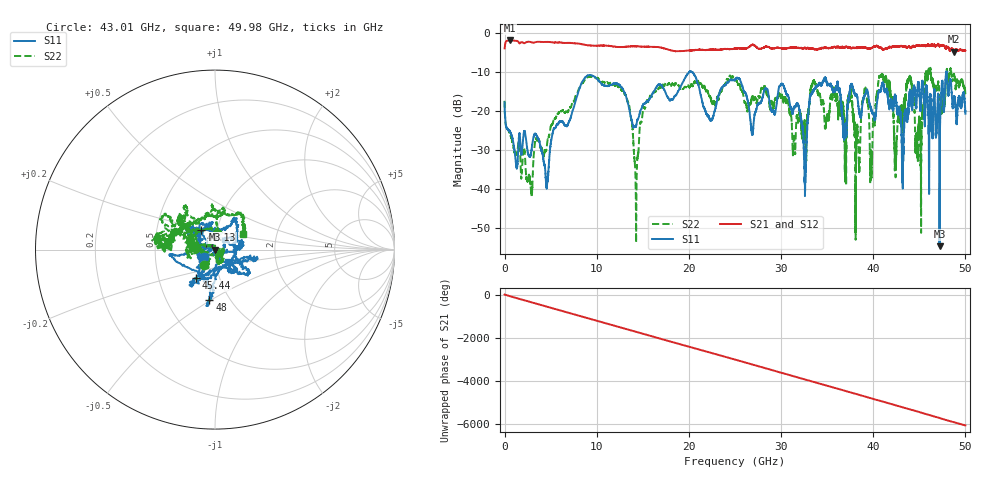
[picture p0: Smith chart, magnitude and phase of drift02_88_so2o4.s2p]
!Created with skrf (http://scikit-rf.org).
# Hz S RI R 50.0
!freq ReS11 ImS11 ReS21 ImS21 ReS12 ImS12 ReS22 ImS22
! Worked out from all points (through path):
!   10001 points, 300 kHz to 50 GHz, reference 50 ohm
!   highest |S21| = -1.99 dB at 595.3 MHz (marker M1); lowest = -4.8 dB at 48.76 GHz (marker M2)
!   group delay of S21, straight-line fit = 337 ps
!   lowest |S11| = -54.7 dB at 47.2 GHz (marker M3), VSWR 1.00, Z = 49.8 + j0.022 ohm
!   |S11| at or under -10 dB: start of sweep to 20.07 GHz; 20.24 GHz to 47.91 GHz (27.67 GHz wide, 81.2 % of centre); 47.93 GHz to end of sweep (the widest 3 of 9)
!   |S22| runs from -53.8 to -9.0 dB; largest |S21 - S12| = 0.037
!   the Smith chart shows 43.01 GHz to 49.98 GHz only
!   S11 on the Smith chart (normalised r, x): 43.01 GHz: 0.88, -0.07; 44.13 GHz: 0.84, +0.19; 45.44 GHz: 0.77, -0.25; 48 GHz: 0.81, -0.49; 49.98 GHz: 1.15, -0.16
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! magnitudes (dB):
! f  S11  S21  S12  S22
! 300 kHz  -17.9  -4.0  -4.0  -17.5
! 595.3 MHz  -25.4  -2.0  -2.0  -26.1
! 4.565 GHz  -39.9  -2.4  -2.4  -29.4
! 8.335 GHz  -13.0  -2.9  -2.9  -13.2
! 13 GHz  -15.3  -3.6  -3.6  -15.7
! 14.28 GHz  -23.8  -3.5  -3.5  -49.4
! 16.67 GHz  -13.3  -3.7  -3.7  -14.5
! 25 GHz  -12.1  -4.1  -4.1  -12.1
! 26.86 GHz  -25.8  -3.1  -3.1  -16.5
! 30.19 GHz  -13.3  -4.0  -4.1  -16.7
! 32.58 GHz  -38.9  -3.9  -4.0  -24.4
! 33.34 GHz  -15.7  -4.0  -4.0  -13.6
! 38.29 GHz  -16.7  -3.9  -3.9  -24.0
! 41.67 GHz  -18.2  -3.8  -3.9  -12.2
! 43.01 GHz  -22.4  -3.4  -3.4  -19.5
! 44.13 GHz  -17.5  -4.0  -4.0  -12.5
! 45.44 GHz  -14.4  -3.5  -3.4  -20.0
! 47.2 GHz  -54.7  -3.5  -3.4  -16.1
! 48 GHz  -11.0  -3.6  -3.6  -9.6
! 48.76 GHz  -16.6  -4.8  -4.8  -10.6
! 49.98 GHz  -20.0  -4.6  -4.5  -15.0
! 50 GHz  -20.8  -4.6  -4.6  -15.5
